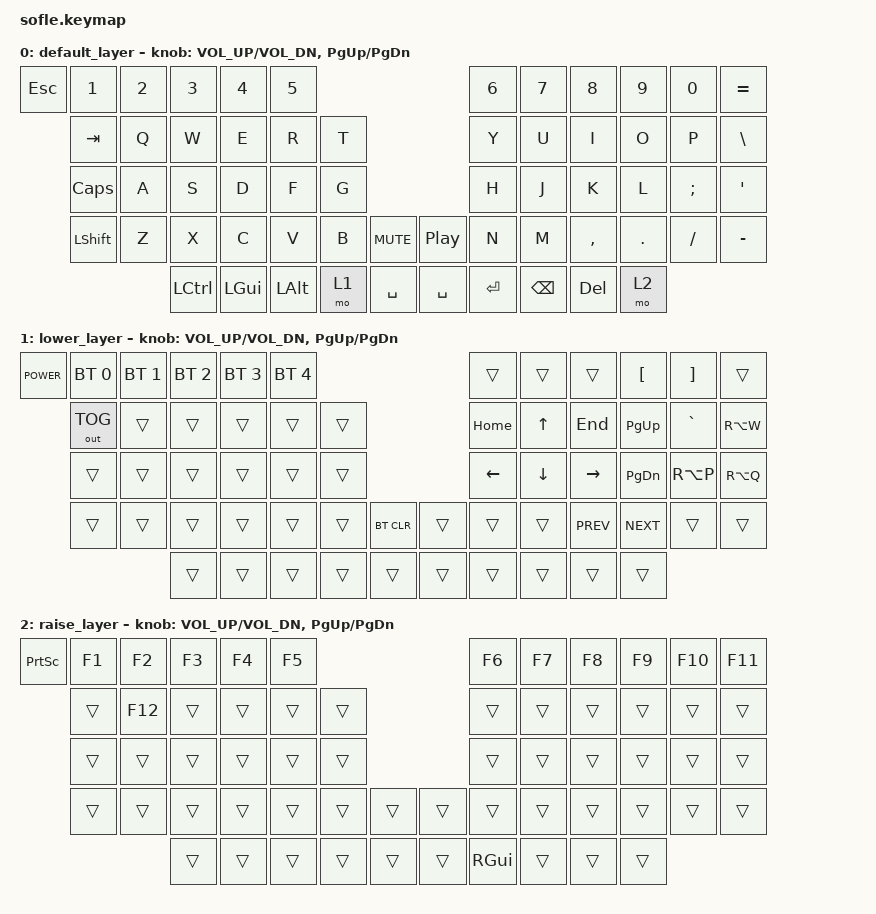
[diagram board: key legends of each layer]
/*
 * Copyright (c) 2020 The ZMK Contributors
 *
 * SPDX-License-Identifier: MIT
 */

#include <behaviors.dtsi>
#include <dt-bindings/zmk/bt.h>
#include <dt-bindings/zmk/keys.h>
#include <dt-bindings/zmk/outputs.h>

/ {
    keymap {
        compatible = "zmk,keymap";

        default_layer {
            // ------------------------------------------------------------------------------------------------------------
            // |  ESC  |  1  |  2  |  3   |  4   |  5   |                   |  6   |  7    |  8    |  9   |   0   |   `   |
            // |  TAB  |  Q  |  W  |  E   |  R   |  T   |                   |  Y   |  U    |  I    |  O   |   P   | BKSPC |
            // |  CAPS |  A  |  S  |  D   |  F   |  G   |                   |  H   |  J    |  K    |  L   |   ;   |   '   |
            // | SHIFT |  Z  |  X  |  C   |  V   |  B   |  MUTE  |  | PPAUSE|  N   |  M    |  ,    |  .   |   /   | SHIFT |
            //               | CTRL| GUI  | ALT  | LOWER|  SPACE |  | SPACE | RAISE| CTRL  | ALT   | GUI  |

            bindings = <
  &kp ESC  &kp N1     &kp N2    &kp N3    &kp N4  &kp N5                            &kp N6         &kp N7     &kp N8   &kp N9     &kp N0      &kp EQUAL
  &kp TAB   &kp Q      &kp W     &kp E     &kp R   &kp T                             &kp Y          &kp U      &kp I    &kp O      &kp P  &kp BACKSLASH
 &kp CAPS   &kp A      &kp S     &kp D     &kp F   &kp G                             &kp H          &kp J      &kp K    &kp L   &kp SEMI        &kp SQT
&kp LSHFT   &kp Z      &kp X     &kp C     &kp V   &kp B  &kp C_MUTE  &kp C_PLAY_PAUSE  &kp N       &kp M  &kp COMMA  &kp DOT  &kp SLASH      &kp MINUS
                   &kp LCTRL  &kp LGUI  &kp LALT   &mo 1   &kp SPACE  &kp SPACE  &kp ENTER  &kp BACKSPACE    &kp DEL    &mo 2
            >;

            sensor-bindings = <&inc_dec_kp C_VOL_UP C_VOL_DN &inc_dec_kp PAGE_UP PAGE_DOWN>;
        };

        lower_layer {
            // TODO: Some binds are waiting for shifted keycode support.
            // ------------------------------------------------------------------------------------------------------------
            // |       |  F1 |  F2 |  F3  |  F4  |  F5  |                   |  F6  |  F7   |  F8   |  F9  |  F10  |  F11  |
            // | `     |   1 |   2 |   3  |   4  |   5  |                   |   6  |   7   |   8   |   9  |    0  |  F12  |
            // |       |  !  |  @  |  #   |  $   |  %   |                   |  ^   |  &    |  *    |  (   |   )   |   |   |
            // |       |  =  |  -  |  +   |  {   |  }   |        |  |       |  [   |  ]    |  ;    |  :   |   \   |       |
            //               |     |      |      |      |        |  |       |      |       |       |      |

            bindings = <
&kp K_POWER  &bt BT_SEL 0  &bt BT_SEL 1  &bt BT_SEL 2  &bt BT_SEL 3  &bt BT_SEL 4                              &trans          &trans      &trans  &kp LEFT_BRACKET  &kp RIGHT_BRACKET     &trans
&out OUT_TOG       &trans        &trans        &trans        &trans        &trans                            &kp HOME    &kp UP_ARROW     &kp END       &kp PAGE_UP          &kp GRAVE  &kp RA(W)
     &trans        &trans        &trans        &trans        &trans        &trans                      &kp LEFT_ARROW  &kp DOWN_ARROW   &kp RIGHT     &kp PAGE_DOWN          &kp RA(P)  &kp RA(Q)
     &trans        &trans        &trans        &trans        &trans        &trans  &bt BT_CLR  &trans          &trans          &trans  &kp C_PREV        &kp C_NEXT             &trans     &trans
                                 &trans        &trans        &trans        &trans      &trans  &trans          &trans          &trans      &trans            &trans
            >;

            sensor-bindings = <&inc_dec_kp C_VOL_UP C_VOL_DN &inc_dec_kp PAGE_UP PAGE_DOWN>;
        };

        raise_layer {
            // ------------------------------------------------------------------------------------------------------------
            // |BTCLR| BT1  | BT2  |  BT3  |  BT4  |  BT5 |                |      |      |       |      |       |       |
            // |     | INS  | PSCR | GUI   |       |      |                | PGUP |      |   ^   |      |       |       |
            // |     | ALT  | CTRL | SHIFT |       | CAPS |                | PGDN |   <- |   v   |  ->  |  DEL  | BKSPC |
            // |     | UNDO | CUT  | COPY  | PASTE |      |      |  |      |      |      |       |      |       |       |
            //              |      |       |       |      |      |  |      |      |      |       |      |

            bindings = <
&kp PRINTSCREEN   &kp F1  &kp F2  &kp F3  &kp F4  &kp F5                         &kp F6  &kp F7  &kp F8  &kp F9  &kp F10  &kp F11
         &trans  &kp F12  &trans  &trans  &trans  &trans                         &trans  &trans  &trans  &trans   &trans   &trans
         &trans   &trans  &trans  &trans  &trans  &trans                         &trans  &trans  &trans  &trans   &trans   &trans
         &trans   &trans  &trans  &trans  &trans  &trans  &trans  &trans         &trans  &trans  &trans  &trans   &trans   &trans
                          &trans  &trans  &trans  &trans  &trans  &trans  &kp RIGHT_GUI  &trans  &trans  &trans
            >;

            sensor-bindings = <&inc_dec_kp C_VOL_UP C_VOL_DN &inc_dec_kp PAGE_UP PAGE_DOWN>;
        };
    };
};
